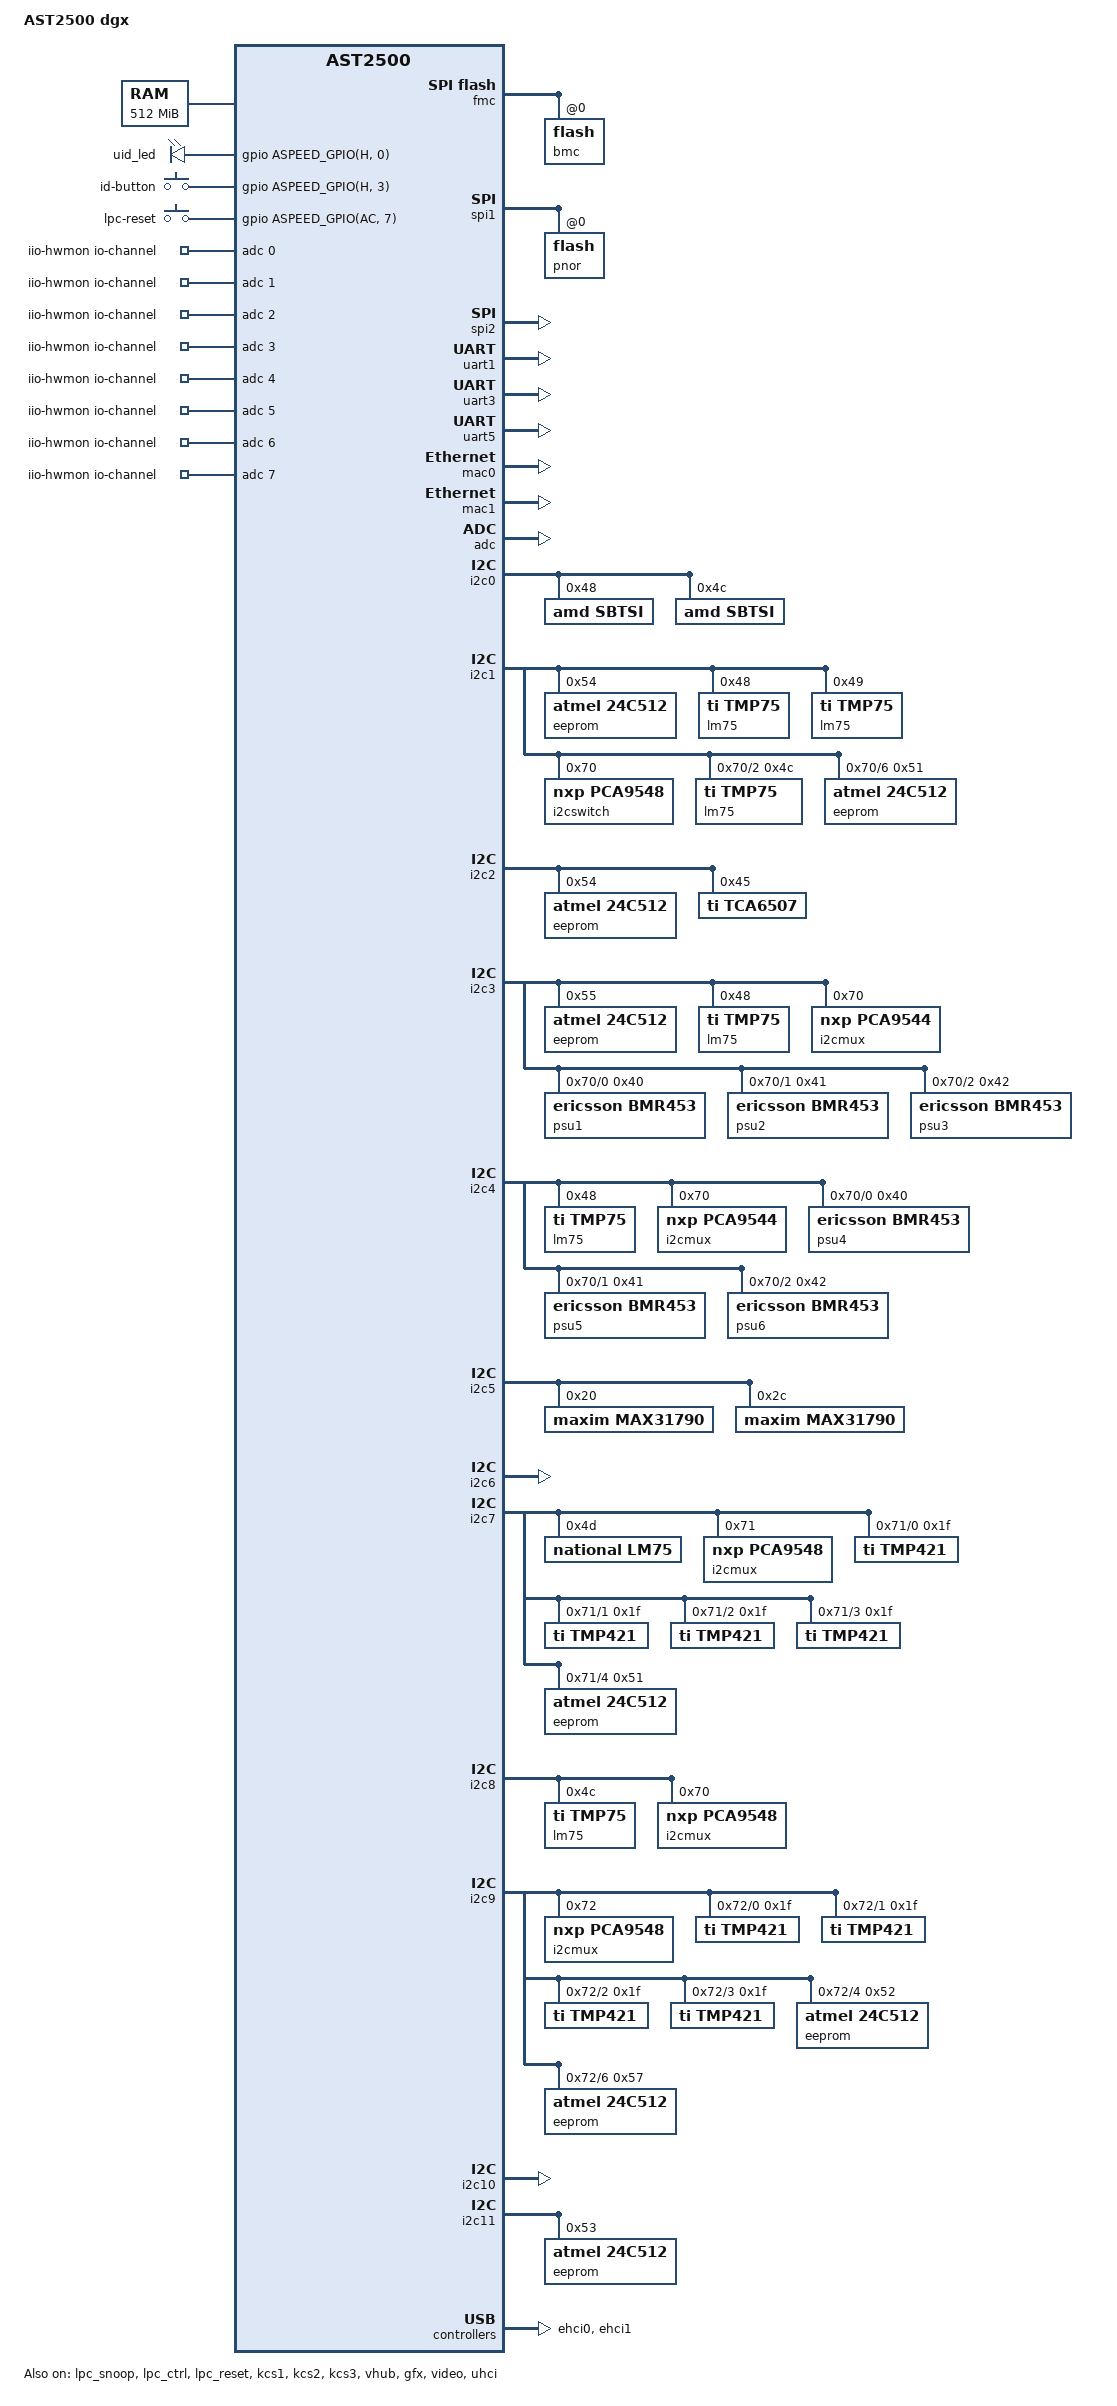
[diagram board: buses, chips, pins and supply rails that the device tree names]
// SPDX-License-Identifier: GPL-2.0+
/dts-v1/;

#include "aspeed-g5.dtsi"
#include <dt-bindings/gpio/aspeed-gpio.h>
#include <dt-bindings/leds/common.h>

/ {
	model = "AST2500 dgx";
	compatible = "aspeed,ast2500";

	aliases {
		serial0 = &uart1;
		serial2 = &uart3;
		serial4 = &uart5;
        i2c213 = &bus1_mux213;
        i2c214 = &bus1_mux214;
		i2c215 = &bus3_mux215;
		i2c216 = &bus3_mux216;
		i2c217 = &bus3_mux217;
		i2c218 = &bus3_mux218;
		i2c219 = &bus4_mux219;
		i2c220 = &bus4_mux220;
		i2c221 = &bus4_mux221;
		i2c222 = &bus4_mux222;
		i2c223 = &bus8_mux223;
		i2c224 = &bus8_mux224;
		i2c225 = &bus8_mux225;
		i2c226 = &bus8_mux226;
		i2c227 = &bus8_mux227;
		i2c228 = &bus8_mux228;
		i2c229 = &bus8_mux229;
		i2c230 = &bus8_mux230;
		i2c231 = &bus7_mux231;
		i2c232 = &bus7_mux232;
		i2c233 = &bus7_mux233;
		i2c234 = &bus7_mux234;
		i2c235 = &bus7_mux235;
		i2c236 = &bus7_mux236;
		i2c237 = &bus7_mux237;
		i2c238 = &bus7_mux238;
		i2c239 = &bus9_mux239;
		i2c240 = &bus9_mux240;
		i2c241 = &bus9_mux241;
		i2c242 = &bus9_mux242;
		i2c243 = &bus9_mux243;
		i2c244 = &bus9_mux244;
		i2c245 = &bus9_mux245;
		i2c246 = &bus9_mux246;
	};

	chosen {
		stdout-path = &uart5;
		bootargs = "console=tty0 console=ttyS4,115200 earlyprintk";
	};

	memory@80000000 {
		reg = <0x80000000 0x20000000>;
	};

	reserved-memory {
		#address-cells = <1>;
		#size-cells = <1>;
		ranges;

		vga_memory: framebuffer@9f000000 {
			no-map;
			reg = <0x9f000000 0x01000000>; /* 16M */
		};

		gfx_memory: framebuffer {
			size = <0x01000000>;
			alignment = <0x01000000>;
			compatible = "shared-dma-pool";
			reusable;
		};

		video_engine_memory: jpegbuffer {
			size = <0x02000000>;	/* 32M */
			alignment = <0x01000000>;
			compatible = "shared-dma-pool";
			reusable;
		};
	};

	leds {
		compatible = "gpio-leds";
		uid_led {
			gpios = <&gpio ASPEED_GPIO(H, 0) GPIO_ACTIVE_HIGH>;
		};
	};

	gpio-keys {
		compatible = "gpio-keys";

		id-button {
			label = "id-button";
			gpios = <&gpio ASPEED_GPIO(H, 3) GPIO_ACTIVE_HIGH>;
			linux,code = <ASPEED_GPIO(H, 3)>;
		};

		lpc-reset {
			label = "lpc-reset";
			gpios = <&gpio ASPEED_GPIO(AC, 7) GPIO_ACTIVE_HIGH>;
			linux,code = <ASPEED_GPIO(AC, 7)>;
		};
	};

	iio-hwmon {
		compatible = "iio-hwmon";
		io-channels = <&adc 0>, <&adc 1>, <&adc 2>,
			<&adc 3>, <&adc 4>, <&adc 5>,
			<&adc 6>, <&adc 7>, <&adc 8>,
			<&adc 9>, <&adc 10>, <&adc 11>,
			<&adc 12>;
	};
};

&gpio {
	gpio-line-names =
	/*A0-A7*/       "","","","","","","","",
	/*B0-B7*/       "dimm_spd_sel","pwrgd_p3v3","bmc_rdv_set_ok","","","","","",
	/*C0-C7*/       "","","","","","","","",
	/*D0-D7*/       "","","","","","","","",
	/*E0-E7*/       "","","","","","","","",
	/*F0-F7*/       "bmc_pwr_btn_n","latch_gpu1_thermtrip_cpld_n","","bmc_cpld_boot_n","sys_pwrok","","","",
	/*G0-G7*/       "","","","","","","","",
	/*H0-H7*/       "bmc_bios_update_n","","","","","","","",
	/*I0-I7*/       "cpu1_present_n","cpu2_bmc_present_n","","","bmc_bios_spi_cs0_n","","","",
	/*J0-J7*/       "","","bios_spi_cs_sel","bmc_ready","","","","",
	/*K0-K7*/       "","","","","","","","",
	/*L0-L7*/       "","","","","","","","",
	/*M0-M7*/       "","","","","","","","",
	/*N0-N7*/       "","","","","","bat_det_en","","",
	/*O0-O7*/       "","","","","","","","psu_workok",
	/*P0-P7*/       "","","psu_alert_n","","","","","psu_detect_n",
	/*Q0-Q7*/       "","","","","","","","",
	/*R0-R7*/       "","","","","","","","",
	/*S0-S7*/       "","","","","","","","",
	/*T0-T7*/       "","","","","","","","",
	/*U0-U7*/       "","","","","","","","",
	/*V0-V7*/       "","","","","","","","",
	/*W0-W7*/       "","","","","","","","",
	/*X0-X7*/       "","","","","","","","",
	/*Y0-Y7*/       "","","","","","","","",
	/*Z0-Z7*/       "","","","","","","","",
	/*AA0-AA7*/     "","","psu_ac_ok_all","","","","","",
	/*AB0-AB7*/     "","","","","","","","",
	/*AC0-AC7*/     "","","","","","","","";

};

&fmc {
	status = "okay";
	flash@0 {
		status = "okay";
		m25p,fast-read;
		label = "bmc";
#include "openbmc-flash-layout.dtsi"
	};
};

&spi1 {
	status = "okay";
	flash@0 {
		status = "okay";
		m25p,fast-read;
		label = "pnor";
	};
};

&spi2 {
	status = "okay";
};

&uart1 {
	// Rear COM1
	status = "okay";
	pinctrl-names = "default";
	pinctrl-0 = <&pinctrl_txd1_default
				 &pinctrl_rxd1_default>;
};

&uart3 {
	// CPU UART1 (FIXME: SOL??)
	status = "okay";
	pinctrl-names = "default";
	pinctrl-0 = <&pinctrl_txd3_default
				 &pinctrl_rxd3_default>;
};

&uart5 {
	// BMC Debug Console
	status = "okay";
};

&lpc_snoop {
	// SBIOS Post Code Port
	status = "okay";
	snoop-ports = <0x80>;
};

&lpc_ctrl {
	status = "okay";
};

&lpc_reset {
	status = "okay";
};

&kcs1 {
	// KCS Channel 1
	status = "okay";
	aspeed,lpc-io-reg = <0xca0>;
};

&kcs2 {
	// KCS Channel 2
	status = "okay";
	aspeed,lpc-io-reg = <0xca8>;
};

&kcs3 {
	// KCS Channel 3
	status = "okay";
	aspeed,lpc-io-reg = <0xca2>;
};

&mac0 {
	status = "okay";

	pinctrl-names = "default";
	pinctrl-0 = <&pinctrl_rgmii1_default &pinctrl_mdio1_default>;
};

&mac1 {
	status = "okay";

	pinctrl-names = "default";
	pinctrl-0 = <&pinctrl_rgmii2_default &pinctrl_mdio2_default>;
};

/*
 * Enable port A as device (via the virtual hub) and port B as
 * host by default on the eval board. This can be easily changed
 * by replacing the override below with &ehci0 { ... } to enable
 * host on both ports.
 */
&vhub {
	status = "okay";
};

&gfx {
	status = "okay";
	memory-region = <&gfx_memory>;
};

&adc {
    status = "okay";
    pinctrl-names = "default";
    pinctrl-0 = <&pinctrl_adc0_default
            &pinctrl_adc1_default
            &pinctrl_adc2_default
            &pinctrl_adc3_default
            &pinctrl_adc4_default
            &pinctrl_adc5_default
            &pinctrl_adc6_default
            &pinctrl_adc7_default
            &pinctrl_adc8_default
            &pinctrl_adc9_default
            &pinctrl_adc10_default
            &pinctrl_adc11_default
            &pinctrl_adc12_default>;
};

&video {
	status = "okay";
	memory-region = <&video_engine_memory>;
};

&i2c0 {
    status = "okay";

    sbtsi@48 {
        compatible = "amd,sbtsi";
        reg = <0x48>;
    };

    sbtsi@4c {
        compatible = "amd,sbtsi";
        reg = <0x4c>;
    };
};

&i2c1 {
    status = "okay";

    // UFRU1
    eeprom@54 {
        compatible = "atmel,24c512";
        reg = <0x54>;
        pagesize = <128>;
        size = <65536>;
    };

    // Planar Temp Sensor U60
    lm75@48 {
        compatible = "ti,tmp75";
        reg = <0x48>;
    };

    // Planar Temp Sensor U139
    lm75@49 {
        compatible = "ti,tmp75";
        reg = <0x49>;
    };

    // i2c switch - U41
    i2cswitch@70 {
        compatible = "nxp,pca9548";
        #address-cells = <1>;
        #size-cells = <0>;
        reg = <0x70>;

        bus1_mux213: i2c@2 {
            #address-cells = <1>;
            #size-cells = <0>;
            reg = <2>;

             // TEMP_M.2_0
             lm75@4c {
                 compatible = "ti,tmp75";
                 reg = <0x4c>;
             };
        };

        // I2C_SW6_SDA
        bus1_mux214: i2c@6 {
            #address-cells = <1>;
            #size-cells = <0>;
            reg = <6>;

            // M.2 FRU
            eeprom@51 {
                compatible = "atmel,24c512";
                reg = <0x51>;
                pagesize = <128>;
                size = <65536>;
            };
        };
    };
};

&i2c2 {             
	status = "okay";

	// Midplane FRU
	eeprom@54 {
		compatible = "atmel,24c512";
		reg = <0x54>;
		pagesize = <128>;
		size = <65536>;
	};

	tca6507: tca6507@45 {
		compatible = "ti,tca6507";
		#address-cells = <1>;
		#size-cells = <0>;
		reg = <0x45>;

		gpio-controller;
		#gpio-cells = <2>;

		power_led {
			reg = <0x0>;
			color = <LED_COLOR_ID_GREEN>;
		};

		fault_led {
			reg = <0x1>;
			type = <LED_COLOR_ID_AMBER>;
		};

		motherboard_debug_led {
			reg = <0x2>;
			type = <LED_COLOR_ID_BLUE>;
		};
	};
};                  

// AST2500 i2c4
&i2c3 {
	status = "okay";

	// PDU FRU U7
	eeprom@55 {
		compatible = "atmel,24c512";
		reg = <0x55>;
		pagesize = <128>;
		size = <65536>;
	};

	// PDB Thermal 2 U2
	lm75@48 {
		compatible = "ti,tmp75";
		reg = <0x48>;
	};

    // 19115-1A PDB_20191018.pdf Page 3: SMB_PDB_2_* - I2C MUX U20
    /* Exclude in the device tree so MUX and PSU are accessible via SMBus
       (i.e. not owned by device tree binding drivers which makes device busy)*/
    i2cmux@70 {
        compatible = "nxp,pca9544";
        reg = <0x70>;

        // CNPSU1
        bus3_mux215: i2c@0 {
            reg = <0>;

            psu1@40 {
                compatible = "ericsson,bmr453";
                reg = <0x40>;
            };
        };
        // CNPSU2
        bus3_mux216: i2c@1 {
            reg = <1>;

            psu2@41 {
                compatible = "ericsson,bmr453";
                reg = <0x41>;
            };
        };
        // CNPSU3
        bus3_mux217: i2c@2 {
            reg = <2>;

            psu3@42 {
                compatible = "ericsson,bmr453";
                reg = <0x42>;
            };
        };

        bus3_mux218: i2c@3 {
            reg = <3>;
        };
    };
};

&i2c4 {             
    status = "okay";

    // PDB thermal 1 U1
    lm75@48 {                        
        compatible = "ti,tmp75";
        reg = <0x48>;                
    };                               

    // 19115-1A PDB_20191018.pdf Page 3: SMB_PDB_1_* - I2C MUX U19
    /* Exclude in the device tree so MUX and PSU are accessible via SMBus
       *i.e. not owned by device tree binding drivers which makes device busy)*/
    i2cmux@70 {
        compatible = "nxp,pca9544";
        reg = <0x70>;

       // CNPSU4
        bus4_mux219: i2c@0 {
            reg = <0>;

            psu4@40 {
                compatible = "ericsson,bmr453";
                reg = <0x40>;
            };
        };
        // CNPSU5
        bus4_mux220: i2c@1 {
            reg = <1>;

            psu5@41 {
                compatible = "ericsson,bmr453";
                reg = <0x41>;
            };
        };
        // CNPSU6
        bus4_mux221: i2c@2 {
            reg = <2>;

            psu6@42 {
                compatible = "ericsson,bmr453";
                reg = <0x42>;
            };
        };

        bus4_mux222: i2c@3 {
            reg = <3>;
        };
    };
};                  

&i2c5 {             
    status = "okay";

    // MB Fan U1
    max31790@20 {
        compatible = "maxim,max31790";
        reg = <0x20>;
        #address-cells = <1>;
        #size-cells = <0>;
    };

    // GB1 Fan
    max31790@2c {
        compatible = "maxim,max31790";
        reg = <0x2c>;
    };
};                  

&i2c6 {             
    status = "okay";
};                  

&i2c7 {
	status = "okay";

	lm75@4d {
		compatible = "national,lm75";
		reg = <0x4d>;
	};

    i2cmux@71 {
        compatible = "nxp,pca9548";
        reg = <0x71>;
        bus7_mux231: i2c@0 {
            reg = <0>;
            tmp421@1f {
                compatible = "ti,tmp421";
                reg = <0x1f>;
            };
        };
        bus7_mux232: i2c@1 {
            reg = <1>;
            tmp421@1f {
                compatible = "ti,tmp421";
                reg = <0x1f>;
            };
        };
        bus7_mux233: i2c@2 {
            reg = <2>;
            tmp421@1f {
                compatible = "ti,tmp421";
                reg = <0x1f>;
            };
        };
        bus7_mux234: i2c@3 {
            reg = <3>;
            tmp421@1f {
                compatible = "ti,tmp421";
                reg = <0x1f>;
            };
        };
        bus7_mux235: i2c@4 {
            reg = <4>;
            // IOE board 0 FRU
            eeprom@51 {
                compatible = "atmel,24c512";
                reg = <0x51>;
                pagesize = <128>;
                size = <65536>;
            };
        };
        bus7_mux236: i2c@5 {
            reg = <5>;
        };
        bus7_mux237: i2c@6 {
            reg = <6>;
        };
        bus7_mux238: i2c@7 {
            reg = <7>;
        };
    };
};

&i2c8 {
    status = "okay";

    // Midplane thermal
    lm75@4C {
        compatible = "ti,tmp75";
        reg = <0x4C>;
    };

    i2cmux@70 {
        compatible = "nxp,pca9548";
        reg = <0x70>;

        // NVMe0
        bus8_mux223: i2c@0 {
            reg = <0>;
        };
        // NVMe1
        bus8_mux224: i2c@1 {
            reg = <1>;
        };
        // NVMe2
        bus8_mux225: i2c@2 {
            reg = <2>;
        };
        // NVMe3
        bus8_mux226: i2c@3 {
            reg = <3>;
        };
        // NVMe4
        bus8_mux227: i2c@4 {
            reg = <4>;
        };
        // NVMe5
        bus8_mux228: i2c@5 {
            reg = <5>;
        };
        // NVMe6
        bus8_mux229: i2c@6 {
            reg = <6>;
        };
        // NVMe7
        bus8_mux230: i2c@7 {
            reg = <7>;
        };
    };
};

&i2c8 {
    status = "okay";

    // Midplane thermal
    lm75@4C {
        compatible = "ti,tmp75";
        reg = <0x4C>;
    };
};

&i2c9 {             
    status = "okay";

    i2cmux@72 {
        compatible = "nxp,pca9548";
        reg = <0x72>;
         bus9_mux239: i2c@0 {
            reg = <0>;
            tmp421@1f {
                compatible = "ti,tmp421";
                reg = <0x1f>;
            };
        };
        bus9_mux240: i2c@1 {
            reg = <1>;
            tmp421@1f {
                compatible = "ti,tmp421";
                reg = <0x1f>;
            };
        };
        bus9_mux241: i2c@2 {
            reg = <2>;
            tmp421@1f {
                compatible = "ti,tmp421";
                reg = <0x1f>;
            };
        };
        bus9_mux242: i2c@3 {
            reg = <3>;
            tmp421@1f {
                compatible = "ti,tmp421";
                reg = <0x1f>;
            };
        };
        bus9_mux243: i2c@4 {
            reg = <4>;
            // IOE board 1 FRU
            eeprom@52 {
                compatible = "atmel,24c512";
                reg = <0x52>;
                pagesize = <128>;
                size = <65536>;
            };
        };
        bus9_mux244: i2c@5 {
            reg = <5>;
        };
        bus9_mux245: i2c@6 {
            reg = <6>;
            // SW FRU
            eeprom@57 {
                compatible = "atmel,24c512";
                reg = <0x57>;
                pagesize = <128>;
                size = <65536>;
            };
        };
        bus9_mux246: i2c@7 {
            reg = <7>;
        };
    };
};

&i2c10 {
	status = "okay";
};

&i2c11 {
	status = "okay";

    // GPU Baseboard FRU
    eeprom@53 {
        compatible = "atmel,24c512";
        reg = <0x53>;
        pagesize = <128>;
        size = <65536>;
    };
};


/*
 * Enable port A as device (via the virtual hub) and port B as
 * host by default on the eval board. This can be easily changed
 * by replacing the override below with &ehci0 { ... } to enable
 * host on both ports.
 */
&vhub {
   status = "okay";
};

// USB 2.0 to HMC & Host BMC connectivity
&ehci0 {
   status = "okay";
};

&ehci1 {
   status = "okay";
};

// USB 1.0
&uhci {
   status = "okay";
};
